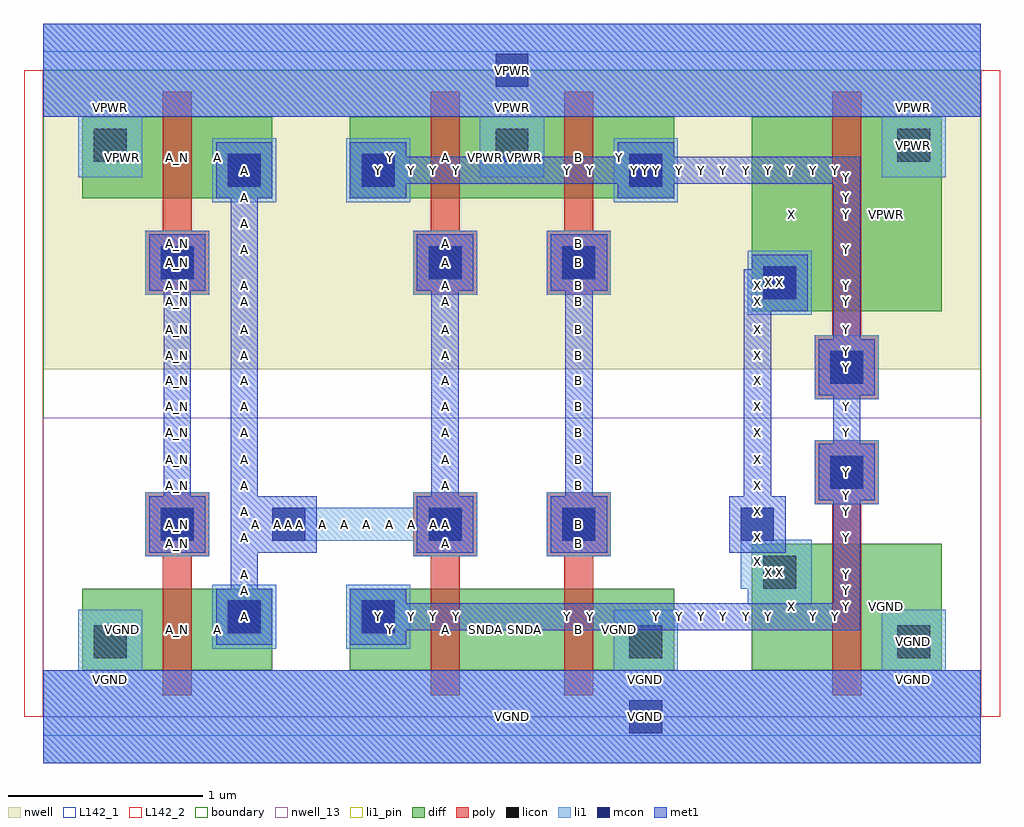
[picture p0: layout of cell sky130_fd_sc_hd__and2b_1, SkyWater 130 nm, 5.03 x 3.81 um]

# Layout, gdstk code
import gdstk
lib = gdstk.Library(unit=1e-6, precision=1e-09)
def R(c, l, rs):  # rectangles x0, y0, x1, y1
    for r in rs: c.add(gdstk.rectangle(r[:2], r[2:], *l))
def A(c, l, x, y, w, h, nx, ny, dx, dy):  # array of equal rectangles
    R(c, l, [(x+i*dx, y+j*dy, x+i*dx+w, y+j*dy+h) for i in range(nx) for j in range(ny)])
def P(c, l, *ps):  # polygons
    for p in ps: c.add(gdstk.Polygon(p, *l))
nwell_13 = (64, 13)
nwell = (64, 20)
diff = (65, 20)
poly = (66, 20)
licon = (66, 44)
li1_pin = (67, 16)
li1 = (67, 20)
mcon = (67, 44)
met1 = (68, 20)
L142_1 = (142, 1)
L142_2 = (142, 2)
boundary = (235, 4)

sky130_fd_sc_hd__and2b_1 = lib.new_cell('sky130_fd_sc_hd__and2b_1')
R(sky130_fd_sc_hd__and2b_1, nwell_13, [(0,0,4.83,1.54)])
R(sky130_fd_sc_hd__and2b_1, nwell, [(0,1.79,4.83,3.33)])
R(sky130_fd_sc_hd__and2b_1, diff, [(0.2,0.24,1.18,0.66), (0.2,0.24,0.615,0.66), (0.615,0.24,1.18,0.66), (1.58,0.24,3.25,0.66), (1.58,0.24,1.995,0.66), (1.995,0.24,2.685,0.66), (2.685,0.24,3.25,0.66), (3.65,0.24,4.63,0.89), (3.65,0.24,4.065,0.89), (4.065,0.24,4.63,0.89), (3.65,2.09,4.63,3.09), (3.65,2.09,4.065,3.09), (4.065,2.09,4.63,3.09), (0.2,2.67,1.18,3.09), (0.2,2.67,0.615,3.09), (0.615,2.67,1.18,3.09), (1.58,2.67,3.25,3.09), (1.58,2.67,1.995,3.09), (1.995,2.67,2.685,3.09), (2.685,2.67,3.25,3.09)])
P(sky130_fd_sc_hd__and2b_1, poly, [(2.685,0.11),(2.685,0.825),(2.595,0.825),(2.595,1.155),(2.925,1.155),(2.925,0.825),(2.835,0.825),(2.835,0.11)],
  [(2.595,2.175),(2.595,2.505),(2.685,2.505),(2.685,3.22),(2.835,3.22),(2.835,2.505),(2.925,2.505),(2.925,2.175)],
  [(4.065,0.11),(4.065,1.095),(3.975,1.095),(3.975,1.425),(4.305,1.425),(4.305,1.095),(4.215,1.095),(4.215,0.11)],
  [(3.975,1.635),(3.975,1.965),(4.065,1.965),(4.065,3.22),(4.215,3.22),(4.215,1.965),(4.305,1.965),(4.305,1.635)],
  [(0.615,0.11),(0.615,0.825),(0.525,0.825),(0.525,1.155),(0.855,1.155),(0.855,0.825),(0.765,0.825),(0.765,0.11)],
  [(0.525,2.175),(0.525,2.505),(0.615,2.505),(0.615,3.22),(0.765,3.22),(0.765,2.505),(0.855,2.505),(0.855,2.175)],
  [(1.995,0.11),(1.995,0.825),(1.905,0.825),(1.905,1.155),(2.235,1.155),(2.235,0.825),(2.145,0.825),(2.145,0.11)],
  [(1.905,2.175),(1.905,2.505),(1.995,2.505),(1.995,3.22),(2.145,3.22),(2.145,2.505),(2.235,2.505),(2.235,2.175)])
A(sky130_fd_sc_hd__and2b_1, licon, 0.26, 2.86, 0.17, 0.17, 3, 1, 2.07, 0)
R(sky130_fd_sc_hd__and2b_1, licon, [(0.26,0.3,0.43,0.47), (3.02,0.3,3.19,0.47), (4.4,0.3,4.57,0.47), (0.95,0.43,1.12,0.6), (1.64,0.43,1.81,0.6), (3.71,0.66,3.88,0.83), (0.605,0.905,0.775,1.075), (1.985,0.905,2.155,1.075), (2.675,0.905,2.845,1.075), (4.055,1.175,4.225,1.345), (4.055,1.715,4.225,1.885), (3.71,2.15,3.88,2.32), (0.605,2.255,0.775,2.425), (1.985,2.255,2.155,2.425), (2.675,2.255,2.845,2.425), (0.95,2.73,1.12,2.9), (1.64,2.73,1.81,2.9), (3.02,2.73,3.19,2.9)])
R(sky130_fd_sc_hd__and2b_1, li1_pin, [(0,-0.24,4.83,0.24), (0.525,0.825,0.855,1.155), (2.595,0.825,2.925,1.155), (0,3.09,4.83,3.57)])
P(sky130_fd_sc_hd__and2b_1, li1_pin, [(3.63,0.58),(3.63,0.66),(3.595,0.66),(3.595,1.075),(3.765,1.075),(3.765,0.91),(3.96,0.91),(3.96,0.58)])
R(sky130_fd_sc_hd__and2b_1, li1, [(0.87,0.35,1.2,0.68), (1.56,0.35,1.89,0.68), (0.525,0.825,0.855,1.155), (2.595,0.825,2.925,1.155), (3.975,1.095,4.305,1.425), (3.975,1.635,4.305,1.965), (3.63,2.07,3.96,2.4), (0.525,2.175,0.855,2.505), (1.905,2.175,2.235,2.505), (2.595,2.175,2.925,2.505), (0.87,2.65,1.2,2.98), (1.56,2.65,1.89,2.98), (2.94,2.65,3.27,2.98)])
P(sky130_fd_sc_hd__and2b_1, li1, [(0.18,2.78),(0.18,3.09),(0,3.09),(0,3.57),(4.83,3.57),(4.83,3.09),(4.65,3.09),(4.65,2.78),(4.32,2.78),(4.32,3.09),(2.58,3.09),(2.58,2.78),(2.25,2.78),(2.25,3.09),(0.51,3.09),(0.51,2.78)],
  [(0,-0.24),(0,0.24),(0.18,0.24),(0.18,0.55),(0.51,0.55),(0.51,0.24),(2.94,0.24),(2.94,0.55),(3.27,0.55),(3.27,0.24),(4.32,0.24),(4.32,0.55),(4.65,0.55),(4.65,0.24),(4.83,0.24),(4.83,-0.24)],
  [(1.905,0.825),(1.905,0.905),(1.18,0.905),(1.18,1.075),(1.905,1.075),(1.905,1.155),(2.235,1.155),(2.235,0.825)],
  [(3.63,0.58),(3.63,0.66),(3.595,0.66),(3.595,1.075),(3.765,1.075),(3.765,0.91),(3.96,0.91),(3.96,0.58)])
R(sky130_fd_sc_hd__and2b_1, mcon, [(3.02,-0.085,3.19,0.085), (0.95,0.43,1.12,0.6), (1.64,0.43,1.81,0.6), (0.605,0.905,0.775,1.075), (1.18,0.905,1.35,1.075), (1.985,0.905,2.155,1.075), (2.675,0.905,2.845,1.075), (3.595,0.905,3.765,1.075), (4.055,1.175,4.225,1.345), (4.055,1.715,4.225,1.885), (3.71,2.15,3.88,2.32), (0.605,2.255,0.775,2.425), (1.985,2.255,2.155,2.425), (2.675,2.255,2.845,2.425), (0.95,2.73,1.12,2.9), (1.64,2.73,1.81,2.9), (3.02,2.73,3.19,2.9), (2.33,3.245,2.5,3.415)])
R(sky130_fd_sc_hd__and2b_1, met1, [(0,-0.24,4.83,0.24), (1.105,0.845,1.12,0.92), (1.105,1.06,1.12,1.135), (0,3.09,4.83,3.57)])
P(sky130_fd_sc_hd__and2b_1, met1, [(2.615,0.845),(2.615,1.135),(2.69,1.135),(2.69,2.195),(2.615,2.195),(2.615,2.485),(2.905,2.485),(2.905,2.195),(2.83,2.195),(2.83,1.135),(2.905,1.135),(2.905,0.845)],
  [(1.58,0.37),(1.58,0.66),(1.87,0.66),(1.87,0.585),(4.07,0.585),(4.07,1.115),(3.995,1.115),(3.995,1.405),(4.07,1.405),(4.07,1.655),(3.995,1.655),(3.995,1.945),(4.07,1.945),(4.07,2.745),(3.25,2.745),(3.25,2.67),(2.96,2.67),(2.96,2.745),(1.87,2.745),(1.87,2.67),(1.58,2.67),(1.58,2.96),(1.87,2.96),(1.87,2.885),(2.96,2.885),(2.96,2.96),(3.25,2.96),(3.25,2.885),(4.21,2.885),(4.21,1.945),(4.285,1.945),(4.285,1.655),(4.21,1.655),(4.21,1.405),(4.285,1.405),(4.285,1.115),(4.21,1.115),(4.21,0.445),(1.87,0.445),(1.87,0.37)],
  [(0.545,0.845),(0.545,1.135),(0.62,1.135),(0.62,2.195),(0.545,2.195),(0.545,2.485),(0.835,2.485),(0.835,2.195),(0.76,2.195),(0.76,1.135),(0.835,1.135),(0.835,0.845)],
  [(1.925,0.845),(1.925,1.135),(2,1.135),(2,2.195),(1.925,2.195),(1.925,2.485),(2.215,2.485),(2.215,2.195),(2.14,2.195),(2.14,1.135),(2.215,1.135),(2.215,0.845)],
  [(0.89,0.37),(0.89,0.66),(0.965,0.66),(0.965,2.67),(0.89,2.67),(0.89,2.96),(1.18,2.96),(1.18,2.67),(1.105,2.67),(1.105,1.06),(1.12,1.06),(1.12,1.135),(1.41,1.135),(1.41,0.845),(1.12,0.845),(1.12,0.92),(1.105,0.92),(1.105,0.66),(1.18,0.66),(1.18,0.37)],
  [(3.535,0.845),(3.535,1.135),(3.61,1.135),(3.61,2.305),(3.65,2.305),(3.65,2.38),(3.94,2.38),(3.94,2.09),(3.75,2.09),(3.75,1.135),(3.825,1.135),(3.825,0.845)])
R(sky130_fd_sc_hd__and2b_1, L142_1, [(0,-0.1,4.83,0), (0,3.33,4.83,3.43)])
R(sky130_fd_sc_hd__and2b_1, L142_2, [(-0.1,0,0,3.33), (4.83,0,4.93,3.33)])
R(sky130_fd_sc_hd__and2b_1, boundary, [(0,0,4.83,3.33)])
sky130_fd_sc_hd__and2b_1.add(gdstk.Label('SNDA', (2.477,0.45), layer=65, texttype=20))
sky130_fd_sc_hd__and2b_1.add(gdstk.Label('VGND', (2.967,0.45), layer=65, texttype=20))
sky130_fd_sc_hd__and2b_1.add(gdstk.Label('VGND', (0.407,0.45), layer=65, texttype=20))
sky130_fd_sc_hd__and2b_1.add(gdstk.Label('A', (0.897,0.45), layer=65, texttype=20))
sky130_fd_sc_hd__and2b_1.add(gdstk.Label('Y', (1.787,0.45), layer=65, texttype=20))
sky130_fd_sc_hd__and2b_1.add(gdstk.Label('SNDA', (2.277,0.45), layer=65, texttype=20))
sky130_fd_sc_hd__and2b_1.add(gdstk.Label('X', (3.857,0.565), layer=65, texttype=20))
sky130_fd_sc_hd__and2b_1.add(gdstk.Label('VGND', (4.347,0.565), layer=65, texttype=20))
sky130_fd_sc_hd__and2b_1.add(gdstk.Label('SNDA', (2.477,0.45), layer=65, texttype=20))
sky130_fd_sc_hd__and2b_1.add(gdstk.Label('VGND', (2.967,0.45), layer=65, texttype=20))
sky130_fd_sc_hd__and2b_1.add(gdstk.Label('VGND', (0.407,0.45), layer=65, texttype=20))
sky130_fd_sc_hd__and2b_1.add(gdstk.Label('A', (0.897,0.45), layer=65, texttype=20))
sky130_fd_sc_hd__and2b_1.add(gdstk.Label('Y', (1.787,0.45), layer=65, texttype=20))
sky130_fd_sc_hd__and2b_1.add(gdstk.Label('SNDA', (2.277,0.45), layer=65, texttype=20))
sky130_fd_sc_hd__and2b_1.add(gdstk.Label('X', (3.857,0.565), layer=65, texttype=20))
sky130_fd_sc_hd__and2b_1.add(gdstk.Label('VGND', (4.347,0.565), layer=65, texttype=20))
sky130_fd_sc_hd__and2b_1.add(gdstk.Label('VGND', (3.105,0.385), layer=65, texttype=20))
sky130_fd_sc_hd__and2b_1.add(gdstk.Label('VGND', (4.485,0.385), layer=65, texttype=20))
sky130_fd_sc_hd__and2b_1.add(gdstk.Label('VGND', (0.345,0.385), layer=65, texttype=20))
sky130_fd_sc_hd__and2b_1.add(gdstk.Label('A', (1.035,0.515), layer=65, texttype=20))
sky130_fd_sc_hd__and2b_1.add(gdstk.Label('Y', (1.725,0.515), layer=65, texttype=20))
sky130_fd_sc_hd__and2b_1.add(gdstk.Label('X', (3.795,0.745), layer=65, texttype=20))
sky130_fd_sc_hd__and2b_1.add(gdstk.Label('VPWR', (2.477,2.88), layer=65, texttype=20))
sky130_fd_sc_hd__and2b_1.add(gdstk.Label('Y', (2.967,2.88), layer=65, texttype=20))
sky130_fd_sc_hd__and2b_1.add(gdstk.Label('Y', (1.787,2.88), layer=65, texttype=20))
sky130_fd_sc_hd__and2b_1.add(gdstk.Label('VPWR', (2.277,2.88), layer=65, texttype=20))
sky130_fd_sc_hd__and2b_1.add(gdstk.Label('X', (3.857,2.59), layer=65, texttype=20))
sky130_fd_sc_hd__and2b_1.add(gdstk.Label('VPWR', (4.347,2.59), layer=65, texttype=20))
sky130_fd_sc_hd__and2b_1.add(gdstk.Label('VPWR', (0.407,2.88), layer=65, texttype=20))
sky130_fd_sc_hd__and2b_1.add(gdstk.Label('A', (0.897,2.88), layer=65, texttype=20))
sky130_fd_sc_hd__and2b_1.add(gdstk.Label('VPWR', (2.477,2.88), layer=65, texttype=20))
sky130_fd_sc_hd__and2b_1.add(gdstk.Label('Y', (2.967,2.88), layer=65, texttype=20))
sky130_fd_sc_hd__and2b_1.add(gdstk.Label('Y', (1.787,2.88), layer=65, texttype=20))
sky130_fd_sc_hd__and2b_1.add(gdstk.Label('VPWR', (2.277,2.88), layer=65, texttype=20))
sky130_fd_sc_hd__and2b_1.add(gdstk.Label('X', (3.857,2.59), layer=65, texttype=20))
sky130_fd_sc_hd__and2b_1.add(gdstk.Label('VPWR', (4.347,2.59), layer=65, texttype=20))
sky130_fd_sc_hd__and2b_1.add(gdstk.Label('VPWR', (0.407,2.88), layer=65, texttype=20))
sky130_fd_sc_hd__and2b_1.add(gdstk.Label('A', (0.897,2.88), layer=65, texttype=20))
sky130_fd_sc_hd__and2b_1.add(gdstk.Label('A', (1.035,2.815), layer=65, texttype=20))
sky130_fd_sc_hd__and2b_1.add(gdstk.Label('Y', (3.105,2.815), layer=65, texttype=20))
sky130_fd_sc_hd__and2b_1.add(gdstk.Label('Y', (1.725,2.815), layer=65, texttype=20))
sky130_fd_sc_hd__and2b_1.add(gdstk.Label('X', (3.795,2.235), layer=65, texttype=20))
sky130_fd_sc_hd__and2b_1.add(gdstk.Label('VPWR', (2.415,2.945), layer=65, texttype=20))
sky130_fd_sc_hd__and2b_1.add(gdstk.Label('VPWR', (4.485,2.945), layer=65, texttype=20))
sky130_fd_sc_hd__and2b_1.add(gdstk.Label('VPWR', (0.345,2.945), layer=65, texttype=20))
sky130_fd_sc_hd__and2b_1.add(gdstk.Label('B', (2.76,0.45), layer=66, texttype=20))
sky130_fd_sc_hd__and2b_1.add(gdstk.Label('A_N', (0.69,0.45), layer=66, texttype=20))
sky130_fd_sc_hd__and2b_1.add(gdstk.Label('A', (2.07,0.45), layer=66, texttype=20))
sky130_fd_sc_hd__and2b_1.add(gdstk.Label('Y', (4.14,0.565), layer=66, texttype=20))
sky130_fd_sc_hd__and2b_1.add(gdstk.Label('B', (2.76,2.88), layer=66, texttype=20))
sky130_fd_sc_hd__and2b_1.add(gdstk.Label('A', (2.07,2.88), layer=66, texttype=20))
sky130_fd_sc_hd__and2b_1.add(gdstk.Label('Y', (4.14,2.59), layer=66, texttype=20))
sky130_fd_sc_hd__and2b_1.add(gdstk.Label('A_N', (0.69,2.88), layer=66, texttype=20))
sky130_fd_sc_hd__and2b_1.add(gdstk.Label('B', (2.76,0.45), layer=66, texttype=20))
sky130_fd_sc_hd__and2b_1.add(gdstk.Label('A_N', (0.69,0.45), layer=66, texttype=20))
sky130_fd_sc_hd__and2b_1.add(gdstk.Label('A', (2.07,0.45), layer=66, texttype=20))
sky130_fd_sc_hd__and2b_1.add(gdstk.Label('Y', (4.14,0.565), layer=66, texttype=20))
sky130_fd_sc_hd__and2b_1.add(gdstk.Label('B', (2.76,2.88), layer=66, texttype=20))
sky130_fd_sc_hd__and2b_1.add(gdstk.Label('A', (2.07,2.88), layer=66, texttype=20))
sky130_fd_sc_hd__and2b_1.add(gdstk.Label('Y', (4.14,2.59), layer=66, texttype=20))
sky130_fd_sc_hd__and2b_1.add(gdstk.Label('A_N', (0.69,2.88), layer=66, texttype=20))
sky130_fd_sc_hd__and2b_1.add(gdstk.Label('A', (2.07,0.89), layer=66, texttype=20))
sky130_fd_sc_hd__and2b_1.add(gdstk.Label('A', (2.07,2.44), layer=66, texttype=20))
sky130_fd_sc_hd__and2b_1.add(gdstk.Label('Y', (4.14,1.14), layer=66, texttype=20))
sky130_fd_sc_hd__and2b_1.add(gdstk.Label('Y', (4.14,1.88), layer=66, texttype=20))
sky130_fd_sc_hd__and2b_1.add(gdstk.Label('B', (2.76,0.89), layer=66, texttype=20))
sky130_fd_sc_hd__and2b_1.add(gdstk.Label('B', (2.76,2.44), layer=66, texttype=20))
sky130_fd_sc_hd__and2b_1.add(gdstk.Label('A_N', (0.69,0.89), layer=66, texttype=20))
sky130_fd_sc_hd__and2b_1.add(gdstk.Label('A_N', (0.69,2.44), layer=66, texttype=20))
sky130_fd_sc_hd__and2b_1.add(gdstk.Label('A', (2.07,0.99), layer=66, texttype=20))
sky130_fd_sc_hd__and2b_1.add(gdstk.Label('A', (2.07,2.34), layer=66, texttype=20))
sky130_fd_sc_hd__and2b_1.add(gdstk.Label('Y', (4.14,1.26), layer=66, texttype=20))
sky130_fd_sc_hd__and2b_1.add(gdstk.Label('Y', (4.14,1.8), layer=66, texttype=20))
sky130_fd_sc_hd__and2b_1.add(gdstk.Label('B', (2.76,0.99), layer=66, texttype=20))
sky130_fd_sc_hd__and2b_1.add(gdstk.Label('B', (2.76,2.34), layer=66, texttype=20))
sky130_fd_sc_hd__and2b_1.add(gdstk.Label('A_N', (0.69,0.99), layer=66, texttype=20))
sky130_fd_sc_hd__and2b_1.add(gdstk.Label('A_N', (0.69,2.34), layer=66, texttype=20))
sky130_fd_sc_hd__and2b_1.add(gdstk.Label('A', (1.035,2.815), layer=66, texttype=44))
sky130_fd_sc_hd__and2b_1.add(gdstk.Label('Y', (3.105,2.815), layer=66, texttype=44))
sky130_fd_sc_hd__and2b_1.add(gdstk.Label('Y', (1.725,2.815), layer=66, texttype=44))
sky130_fd_sc_hd__and2b_1.add(gdstk.Label('X', (3.795,2.235), layer=66, texttype=44))
sky130_fd_sc_hd__and2b_1.add(gdstk.Label('VPWR', (2.415,2.945), layer=66, texttype=44))
sky130_fd_sc_hd__and2b_1.add(gdstk.Label('VPWR', (4.485,2.945), layer=66, texttype=44))
sky130_fd_sc_hd__and2b_1.add(gdstk.Label('VPWR', (0.345,2.945), layer=66, texttype=44))
sky130_fd_sc_hd__and2b_1.add(gdstk.Label('VGND', (3.105,0.385), layer=66, texttype=44))
sky130_fd_sc_hd__and2b_1.add(gdstk.Label('VGND', (4.485,0.385), layer=66, texttype=44))
sky130_fd_sc_hd__and2b_1.add(gdstk.Label('VGND', (0.345,0.385), layer=66, texttype=44))
sky130_fd_sc_hd__and2b_1.add(gdstk.Label('A', (1.035,0.515), layer=66, texttype=44))
sky130_fd_sc_hd__and2b_1.add(gdstk.Label('Y', (1.725,0.515), layer=66, texttype=44))
sky130_fd_sc_hd__and2b_1.add(gdstk.Label('X', (3.795,0.745), layer=66, texttype=44))
sky130_fd_sc_hd__and2b_1.add(gdstk.Label('A', (2.07,0.99), layer=66, texttype=44))
sky130_fd_sc_hd__and2b_1.add(gdstk.Label('A', (2.07,2.34), layer=66, texttype=44))
sky130_fd_sc_hd__and2b_1.add(gdstk.Label('Y', (4.14,1.26), layer=66, texttype=44))
sky130_fd_sc_hd__and2b_1.add(gdstk.Label('Y', (4.14,1.8), layer=66, texttype=44))
sky130_fd_sc_hd__and2b_1.add(gdstk.Label('B', (2.76,0.99), layer=66, texttype=44))
sky130_fd_sc_hd__and2b_1.add(gdstk.Label('B', (2.76,2.34), layer=66, texttype=44))
sky130_fd_sc_hd__and2b_1.add(gdstk.Label('A_N', (0.69,0.99), layer=66, texttype=44))
sky130_fd_sc_hd__and2b_1.add(gdstk.Label('A_N', (0.69,2.34), layer=66, texttype=44))
sky130_fd_sc_hd__and2b_1.add(gdstk.Label('VPWR', (2.415,3.33), layer=67, texttype=20))
sky130_fd_sc_hd__and2b_1.add(gdstk.Label('VGND', (2.415,0), layer=67, texttype=20))
sky130_fd_sc_hd__and2b_1.add(gdstk.Label('VPWR', (2.415,3.33), layer=67, texttype=20))
sky130_fd_sc_hd__and2b_1.add(gdstk.Label('VGND', (2.415,0), layer=67, texttype=20))
sky130_fd_sc_hd__and2b_1.add(gdstk.Label('VGND', (3.105,0.192), layer=67, texttype=20))
sky130_fd_sc_hd__and2b_1.add(gdstk.Label('VGND', (4.485,0.192), layer=67, texttype=20))
sky130_fd_sc_hd__and2b_1.add(gdstk.Label('VGND', (0.345,0.192), layer=67, texttype=20))
sky130_fd_sc_hd__and2b_1.add(gdstk.Label('A', (1.322,0.99), layer=67, texttype=20))
sky130_fd_sc_hd__and2b_1.add(gdstk.Label('A', (1.437,0.99), layer=67, texttype=20))
sky130_fd_sc_hd__and2b_1.add(gdstk.Label('A', (1.552,0.99), layer=67, texttype=20))
sky130_fd_sc_hd__and2b_1.add(gdstk.Label('A', (1.667,0.99), layer=67, texttype=20))
sky130_fd_sc_hd__and2b_1.add(gdstk.Label('A', (1.782,0.99), layer=67, texttype=20))
sky130_fd_sc_hd__and2b_1.add(gdstk.Label('A', (1.897,0.99), layer=67, texttype=20))
sky130_fd_sc_hd__and2b_1.add(gdstk.Label('A', (2.012,0.99), layer=67, texttype=20))
sky130_fd_sc_hd__and2b_1.add(gdstk.Label('X', (3.737,0.745), layer=67, texttype=20))
sky130_fd_sc_hd__and2b_1.add(gdstk.Label('X', (3.68,0.8), layer=67, texttype=20))
sky130_fd_sc_hd__and2b_1.add(gdstk.Label('X', (3.68,0.922), layer=67, texttype=20))
sky130_fd_sc_hd__and2b_1.add(gdstk.Label('VPWR', (2.415,3.137), layer=67, texttype=20))
sky130_fd_sc_hd__and2b_1.add(gdstk.Label('VPWR', (4.485,3.137), layer=67, texttype=20))
sky130_fd_sc_hd__and2b_1.add(gdstk.Label('VPWR', (0.345,3.137), layer=67, texttype=20))
sky130_fd_sc_hd__and2b_1.add(gdstk.Label('VGND', (3.105,0.385), layer=67, texttype=20))
sky130_fd_sc_hd__and2b_1.add(gdstk.Label('VGND', (3.105,0), layer=67, texttype=20))
sky130_fd_sc_hd__and2b_1.add(gdstk.Label('VGND', (4.485,0.385), layer=67, texttype=20))
sky130_fd_sc_hd__and2b_1.add(gdstk.Label('VGND', (0.345,0.385), layer=67, texttype=20))
sky130_fd_sc_hd__and2b_1.add(gdstk.Label('A', (1.035,0.515), layer=67, texttype=20))
sky130_fd_sc_hd__and2b_1.add(gdstk.Label('A', (1.035,0.515), layer=67, texttype=20))
sky130_fd_sc_hd__and2b_1.add(gdstk.Label('A', (1.035,2.815), layer=67, texttype=20))
sky130_fd_sc_hd__and2b_1.add(gdstk.Label('A', (1.035,2.815), layer=67, texttype=20))
sky130_fd_sc_hd__and2b_1.add(gdstk.Label('A', (1.265,0.99), layer=67, texttype=20))
sky130_fd_sc_hd__and2b_1.add(gdstk.Label('A', (2.07,0.99), layer=67, texttype=20))
sky130_fd_sc_hd__and2b_1.add(gdstk.Label('A', (2.07,0.99), layer=67, texttype=20))
sky130_fd_sc_hd__and2b_1.add(gdstk.Label('A', (2.07,2.34), layer=67, texttype=20))
sky130_fd_sc_hd__and2b_1.add(gdstk.Label('A', (2.07,2.34), layer=67, texttype=20))
sky130_fd_sc_hd__and2b_1.add(gdstk.Label('Y', (1.725,0.515), layer=67, texttype=20))
sky130_fd_sc_hd__and2b_1.add(gdstk.Label('Y', (1.725,0.515), layer=67, texttype=20))
sky130_fd_sc_hd__and2b_1.add(gdstk.Label('Y', (4.14,1.26), layer=67, texttype=20))
sky130_fd_sc_hd__and2b_1.add(gdstk.Label('Y', (4.14,1.26), layer=67, texttype=20))
sky130_fd_sc_hd__and2b_1.add(gdstk.Label('Y', (4.14,1.8), layer=67, texttype=20))
sky130_fd_sc_hd__and2b_1.add(gdstk.Label('Y', (4.14,1.8), layer=67, texttype=20))
sky130_fd_sc_hd__and2b_1.add(gdstk.Label('Y', (3.105,2.815), layer=67, texttype=20))
sky130_fd_sc_hd__and2b_1.add(gdstk.Label('Y', (3.105,2.815), layer=67, texttype=20))
sky130_fd_sc_hd__and2b_1.add(gdstk.Label('Y', (1.725,2.815), layer=67, texttype=20))
sky130_fd_sc_hd__and2b_1.add(gdstk.Label('Y', (1.725,2.815), layer=67, texttype=20))
sky130_fd_sc_hd__and2b_1.add(gdstk.Label('X', (3.795,0.745), layer=67, texttype=20))
sky130_fd_sc_hd__and2b_1.add(gdstk.Label('X', (3.68,0.99), layer=67, texttype=20))
sky130_fd_sc_hd__and2b_1.add(gdstk.Label('X', (3.795,2.235), layer=67, texttype=20))
sky130_fd_sc_hd__and2b_1.add(gdstk.Label('X', (3.795,2.235), layer=67, texttype=20))
sky130_fd_sc_hd__and2b_1.add(gdstk.Label('VPWR', (2.415,2.945), layer=67, texttype=20))
sky130_fd_sc_hd__and2b_1.add(gdstk.Label('VPWR', (2.415,3.33), layer=67, texttype=20))
sky130_fd_sc_hd__and2b_1.add(gdstk.Label('VPWR', (4.485,2.945), layer=67, texttype=20))
sky130_fd_sc_hd__and2b_1.add(gdstk.Label('VPWR', (0.345,2.945), layer=67, texttype=20))
sky130_fd_sc_hd__and2b_1.add(gdstk.Label('B', (2.76,0.99), layer=67, texttype=20))
sky130_fd_sc_hd__and2b_1.add(gdstk.Label('B', (2.76,0.99), layer=67, texttype=20))
sky130_fd_sc_hd__and2b_1.add(gdstk.Label('B', (2.76,2.34), layer=67, texttype=20))
sky130_fd_sc_hd__and2b_1.add(gdstk.Label('B', (2.76,2.34), layer=67, texttype=20))
sky130_fd_sc_hd__and2b_1.add(gdstk.Label('A_N', (0.69,0.99), layer=67, texttype=20))
sky130_fd_sc_hd__and2b_1.add(gdstk.Label('A_N', (0.69,0.99), layer=67, texttype=20))
sky130_fd_sc_hd__and2b_1.add(gdstk.Label('A_N', (0.69,2.34), layer=67, texttype=20))
sky130_fd_sc_hd__and2b_1.add(gdstk.Label('A_N', (0.69,2.34), layer=67, texttype=20))
sky130_fd_sc_hd__and2b_1.add(gdstk.Label('X', (3.68,0.99), layer=67, texttype=5))
sky130_fd_sc_hd__and2b_1.add(gdstk.Label('B', (2.76,0.99), layer=67, texttype=5))
sky130_fd_sc_hd__and2b_1.add(gdstk.Label('A_N', (0.69,0.99), layer=67, texttype=5))
sky130_fd_sc_hd__and2b_1.add(gdstk.Label('VGND', (2.415,0), layer=67, texttype=5))
sky130_fd_sc_hd__and2b_1.add(gdstk.Label('VPWR', (2.415,3.33), layer=67, texttype=5))
sky130_fd_sc_hd__and2b_1.add(gdstk.Label('VGND', (3.105,0), layer=67, texttype=44))
sky130_fd_sc_hd__and2b_1.add(gdstk.Label('A', (1.035,0.515), layer=67, texttype=44))
sky130_fd_sc_hd__and2b_1.add(gdstk.Label('A', (1.035,2.815), layer=67, texttype=44))
sky130_fd_sc_hd__and2b_1.add(gdstk.Label('A', (1.265,0.99), layer=67, texttype=44))
sky130_fd_sc_hd__and2b_1.add(gdstk.Label('A', (2.07,0.99), layer=67, texttype=44))
sky130_fd_sc_hd__and2b_1.add(gdstk.Label('A', (2.07,2.34), layer=67, texttype=44))
sky130_fd_sc_hd__and2b_1.add(gdstk.Label('Y', (1.725,0.515), layer=67, texttype=44))
sky130_fd_sc_hd__and2b_1.add(gdstk.Label('Y', (4.14,1.26), layer=67, texttype=44))
sky130_fd_sc_hd__and2b_1.add(gdstk.Label('Y', (4.14,1.8), layer=67, texttype=44))
sky130_fd_sc_hd__and2b_1.add(gdstk.Label('Y', (3.105,2.815), layer=67, texttype=44))
sky130_fd_sc_hd__and2b_1.add(gdstk.Label('Y', (1.725,2.815), layer=67, texttype=44))
sky130_fd_sc_hd__and2b_1.add(gdstk.Label('X', (3.68,0.99), layer=67, texttype=44))
sky130_fd_sc_hd__and2b_1.add(gdstk.Label('X', (3.795,2.235), layer=67, texttype=44))
sky130_fd_sc_hd__and2b_1.add(gdstk.Label('VPWR', (2.415,3.33), layer=67, texttype=44))
sky130_fd_sc_hd__and2b_1.add(gdstk.Label('B', (2.76,0.99), layer=67, texttype=44))
sky130_fd_sc_hd__and2b_1.add(gdstk.Label('B', (2.76,2.34), layer=67, texttype=44))
sky130_fd_sc_hd__and2b_1.add(gdstk.Label('A_N', (0.69,0.99), layer=67, texttype=44))
sky130_fd_sc_hd__and2b_1.add(gdstk.Label('A_N', (0.69,2.34), layer=67, texttype=44))
sky130_fd_sc_hd__and2b_1.add(gdstk.Label('Y', (4.14,1.732), layer=68, texttype=20))
sky130_fd_sc_hd__and2b_1.add(gdstk.Label('Y', (2.472,2.815), layer=68, texttype=20))
sky130_fd_sc_hd__and2b_1.add(gdstk.Label('X', (3.68,1.732), layer=68, texttype=20))
sky130_fd_sc_hd__and2b_1.add(gdstk.Label('B', (2.76,1.732), layer=68, texttype=20))
sky130_fd_sc_hd__and2b_1.add(gdstk.Label('Y', (4.14,2.78), layer=68, texttype=20))
sky130_fd_sc_hd__and2b_1.add(gdstk.Label('Y', (4.082,2.815), layer=68, texttype=20))
sky130_fd_sc_hd__and2b_1.add(gdstk.Label('Y', (3.967,2.815), layer=68, texttype=20))
sky130_fd_sc_hd__and2b_1.add(gdstk.Label('Y', (3.852,2.815), layer=68, texttype=20))
sky130_fd_sc_hd__and2b_1.add(gdstk.Label('Y', (3.737,2.815), layer=68, texttype=20))
sky130_fd_sc_hd__and2b_1.add(gdstk.Label('Y', (3.622,2.815), layer=68, texttype=20))
sky130_fd_sc_hd__and2b_1.add(gdstk.Label('Y', (3.507,2.815), layer=68, texttype=20))
sky130_fd_sc_hd__and2b_1.add(gdstk.Label('Y', (3.392,2.815), layer=68, texttype=20))
sky130_fd_sc_hd__and2b_1.add(gdstk.Label('Y', (3.277,2.815), layer=68, texttype=20))
sky130_fd_sc_hd__and2b_1.add(gdstk.Label('Y', (3.162,2.815), layer=68, texttype=20))
sky130_fd_sc_hd__and2b_1.add(gdstk.Label('Y', (3.047,2.815), layer=68, texttype=20))
sky130_fd_sc_hd__and2b_1.add(gdstk.Label('Y', (2.932,2.815), layer=68, texttype=20))
sky130_fd_sc_hd__and2b_1.add(gdstk.Label('Y', (2.817,2.815), layer=68, texttype=20))
sky130_fd_sc_hd__and2b_1.add(gdstk.Label('Y', (2.702,2.815), layer=68, texttype=20))
sky130_fd_sc_hd__and2b_1.add(gdstk.Label('Y', (2.587,2.815), layer=68, texttype=20))
sky130_fd_sc_hd__and2b_1.add(gdstk.Label('Y', (4.14,1.862), layer=68, texttype=20))
sky130_fd_sc_hd__and2b_1.add(gdstk.Label('Y', (4.14,1.997), layer=68, texttype=20))
sky130_fd_sc_hd__and2b_1.add(gdstk.Label('Y', (4.14,2.137), layer=68, texttype=20))
sky130_fd_sc_hd__and2b_1.add(gdstk.Label('Y', (4.14,2.22), layer=68, texttype=20))
sky130_fd_sc_hd__and2b_1.add(gdstk.Label('X', (3.68,1.862), layer=68, texttype=20))
sky130_fd_sc_hd__and2b_1.add(gdstk.Label('X', (3.68,1.997), layer=68, texttype=20))
sky130_fd_sc_hd__and2b_1.add(gdstk.Label('X', (3.68,2.137), layer=68, texttype=20))
sky130_fd_sc_hd__and2b_1.add(gdstk.Label('X', (3.68,2.22), layer=68, texttype=20))
sky130_fd_sc_hd__and2b_1.add(gdstk.Label('X', (3.737,2.235), layer=68, texttype=20))
sky130_fd_sc_hd__and2b_1.add(gdstk.Label('Y', (4.14,2.287), layer=68, texttype=20))
sky130_fd_sc_hd__and2b_1.add(gdstk.Label('Y', (4.14,2.407), layer=68, texttype=20))
sky130_fd_sc_hd__and2b_1.add(gdstk.Label('B', (2.76,1.862), layer=68, texttype=20))
sky130_fd_sc_hd__and2b_1.add(gdstk.Label('B', (2.76,1.997), layer=68, texttype=20))
sky130_fd_sc_hd__and2b_1.add(gdstk.Label('B', (2.76,2.137), layer=68, texttype=20))
sky130_fd_sc_hd__and2b_1.add(gdstk.Label('B', (2.76,2.22), layer=68, texttype=20))
sky130_fd_sc_hd__and2b_1.add(gdstk.Label('B', (2.76,2.287), layer=68, texttype=20))
sky130_fd_sc_hd__and2b_1.add(gdstk.Label('Y', (4.14,2.542), layer=68, texttype=20))
sky130_fd_sc_hd__and2b_1.add(gdstk.Label('Y', (4.14,2.677), layer=68, texttype=20))
sky130_fd_sc_hd__and2b_1.add(gdstk.Label('Y', (4.14,1.8), layer=68, texttype=20))
sky130_fd_sc_hd__and2b_1.add(gdstk.Label('Y', (3.105,2.815), layer=68, texttype=20))
sky130_fd_sc_hd__and2b_1.add(gdstk.Label('X', (3.795,2.235), layer=68, texttype=20))
sky130_fd_sc_hd__and2b_1.add(gdstk.Label('B', (2.76,2.34), layer=68, texttype=20))
sky130_fd_sc_hd__and2b_1.add(gdstk.Label('VPWR', (2.415,3.33), layer=68, texttype=20))
sky130_fd_sc_hd__and2b_1.add(gdstk.Label('Y', (2.357,2.815), layer=68, texttype=20))
sky130_fd_sc_hd__and2b_1.add(gdstk.Label('Y', (2.012,2.815), layer=68, texttype=20))
sky130_fd_sc_hd__and2b_1.add(gdstk.Label('Y', (1.897,2.815), layer=68, texttype=20))
sky130_fd_sc_hd__and2b_1.add(gdstk.Label('Y', (1.782,2.815), layer=68, texttype=20))
sky130_fd_sc_hd__and2b_1.add(gdstk.Label('A', (1.035,2.22), layer=68, texttype=20))
sky130_fd_sc_hd__and2b_1.add(gdstk.Label('A', (1.035,2.287), layer=68, texttype=20))
sky130_fd_sc_hd__and2b_1.add(gdstk.Label('A', (1.035,2.407), layer=68, texttype=20))
sky130_fd_sc_hd__and2b_1.add(gdstk.Label('A', (1.035,2.542), layer=68, texttype=20))
sky130_fd_sc_hd__and2b_1.add(gdstk.Label('A', (1.035,2.677), layer=68, texttype=20))
sky130_fd_sc_hd__and2b_1.add(gdstk.Label('A', (1.035,2.78), layer=68, texttype=20))
sky130_fd_sc_hd__and2b_1.add(gdstk.Label('A', (1.035,1.862), layer=68, texttype=20))
sky130_fd_sc_hd__and2b_1.add(gdstk.Label('A', (1.035,1.997), layer=68, texttype=20))
sky130_fd_sc_hd__and2b_1.add(gdstk.Label('A', (2.07,1.862), layer=68, texttype=20))
sky130_fd_sc_hd__and2b_1.add(gdstk.Label('A', (2.07,1.997), layer=68, texttype=20))
sky130_fd_sc_hd__and2b_1.add(gdstk.Label('A', (2.07,2.137), layer=68, texttype=20))
sky130_fd_sc_hd__and2b_1.add(gdstk.Label('A', (2.07,2.22), layer=68, texttype=20))
sky130_fd_sc_hd__and2b_1.add(gdstk.Label('A', (2.07,2.287), layer=68, texttype=20))
sky130_fd_sc_hd__and2b_1.add(gdstk.Label('A', (1.035,2.137), layer=68, texttype=20))
sky130_fd_sc_hd__and2b_1.add(gdstk.Label('Y', (2.242,2.815), layer=68, texttype=20))
sky130_fd_sc_hd__and2b_1.add(gdstk.Label('Y', (2.127,2.815), layer=68, texttype=20))
sky130_fd_sc_hd__and2b_1.add(gdstk.Label('A_N', (0.69,1.862), layer=68, texttype=20))
sky130_fd_sc_hd__and2b_1.add(gdstk.Label('A_N', (0.69,1.997), layer=68, texttype=20))
sky130_fd_sc_hd__and2b_1.add(gdstk.Label('A_N', (0.69,2.137), layer=68, texttype=20))
sky130_fd_sc_hd__and2b_1.add(gdstk.Label('A_N', (0.69,2.22), layer=68, texttype=20))
sky130_fd_sc_hd__and2b_1.add(gdstk.Label('A_N', (0.69,2.287), layer=68, texttype=20))
sky130_fd_sc_hd__and2b_1.add(gdstk.Label('A', (1.035,2.815), layer=68, texttype=20))
sky130_fd_sc_hd__and2b_1.add(gdstk.Label('A', (2.07,2.34), layer=68, texttype=20))
sky130_fd_sc_hd__and2b_1.add(gdstk.Label('A', (1.035,1.732), layer=68, texttype=20))
sky130_fd_sc_hd__and2b_1.add(gdstk.Label('A', (2.07,1.732), layer=68, texttype=20))
sky130_fd_sc_hd__and2b_1.add(gdstk.Label('Y', (1.725,2.815), layer=68, texttype=20))
sky130_fd_sc_hd__and2b_1.add(gdstk.Label('A_N', (0.69,1.732), layer=68, texttype=20))
sky130_fd_sc_hd__and2b_1.add(gdstk.Label('VPWR', (2.415,3.33), layer=68, texttype=20))
sky130_fd_sc_hd__and2b_1.add(gdstk.Label('VPWR', (2.415,3.33), layer=68, texttype=20))
sky130_fd_sc_hd__and2b_1.add(gdstk.Label('A_N', (0.69,2.34), layer=68, texttype=20))
sky130_fd_sc_hd__and2b_1.add(gdstk.Label('Y', (2.127,0.515), layer=68, texttype=20))
sky130_fd_sc_hd__and2b_1.add(gdstk.Label('Y', (2.242,0.515), layer=68, texttype=20))
sky130_fd_sc_hd__and2b_1.add(gdstk.Label('A', (1.035,1.327), layer=68, texttype=20))
sky130_fd_sc_hd__and2b_1.add(gdstk.Label('A', (1.035,1.462), layer=68, texttype=20))
sky130_fd_sc_hd__and2b_1.add(gdstk.Label('A', (1.035,0.55), layer=68, texttype=20))
sky130_fd_sc_hd__and2b_1.add(gdstk.Label('A', (1.207,0.99), layer=68, texttype=20))
sky130_fd_sc_hd__and2b_1.add(gdstk.Label('A', (2.07,1.057), layer=68, texttype=20))
sky130_fd_sc_hd__and2b_1.add(gdstk.Label('A', (2.07,1.192), layer=68, texttype=20))
sky130_fd_sc_hd__and2b_1.add(gdstk.Label('A', (2.07,1.327), layer=68, texttype=20))
sky130_fd_sc_hd__and2b_1.add(gdstk.Label('A', (2.07,1.462), layer=68, texttype=20))
sky130_fd_sc_hd__and2b_1.add(gdstk.Label('A_N', (0.69,1.057), layer=68, texttype=20))
sky130_fd_sc_hd__and2b_1.add(gdstk.Label('A_N', (0.69,1.192), layer=68, texttype=20))
sky130_fd_sc_hd__and2b_1.add(gdstk.Label('A_N', (0.69,1.327), layer=68, texttype=20))
sky130_fd_sc_hd__and2b_1.add(gdstk.Label('A_N', (0.69,1.462), layer=68, texttype=20))
sky130_fd_sc_hd__and2b_1.add(gdstk.Label('A', (1.035,0.652), layer=68, texttype=20))
sky130_fd_sc_hd__and2b_1.add(gdstk.Label('A', (1.035,0.732), layer=68, texttype=20))
sky130_fd_sc_hd__and2b_1.add(gdstk.Label('A', (1.035,0.8), layer=68, texttype=20))
sky130_fd_sc_hd__and2b_1.add(gdstk.Label('A', (1.035,0.922), layer=68, texttype=20))
sky130_fd_sc_hd__and2b_1.add(gdstk.Label('A', (1.035,1.057), layer=68, texttype=20))
sky130_fd_sc_hd__and2b_1.add(gdstk.Label('A', (1.092,0.99), layer=68, texttype=20))
sky130_fd_sc_hd__and2b_1.add(gdstk.Label('A', (1.035,1.192), layer=68, texttype=20))
sky130_fd_sc_hd__and2b_1.add(gdstk.Label('A', (1.035,0.515), layer=68, texttype=20))
sky130_fd_sc_hd__and2b_1.add(gdstk.Label('Y', (2.357,0.515), layer=68, texttype=20))
sky130_fd_sc_hd__and2b_1.add(gdstk.Label('A', (1.265,0.99), layer=68, texttype=20))
sky130_fd_sc_hd__and2b_1.add(gdstk.Label('A', (2.07,0.99), layer=68, texttype=20))
sky130_fd_sc_hd__and2b_1.add(gdstk.Label('A_N', (0.69,1.597), layer=68, texttype=20))
sky130_fd_sc_hd__and2b_1.add(gdstk.Label('Y', (1.725,0.515), layer=68, texttype=20))
sky130_fd_sc_hd__and2b_1.add(gdstk.Label('A', (1.035,1.597), layer=68, texttype=20))
sky130_fd_sc_hd__and2b_1.add(gdstk.Label('VGND', (2.415,0), layer=68, texttype=20))
sky130_fd_sc_hd__and2b_1.add(gdstk.Label('A', (2.07,1.597), layer=68, texttype=20))
sky130_fd_sc_hd__and2b_1.add(gdstk.Label('VGND', (2.415,0), layer=68, texttype=20))
sky130_fd_sc_hd__and2b_1.add(gdstk.Label('Y', (1.782,0.515), layer=68, texttype=20))
sky130_fd_sc_hd__and2b_1.add(gdstk.Label('Y', (1.897,0.515), layer=68, texttype=20))
sky130_fd_sc_hd__and2b_1.add(gdstk.Label('A_N', (0.69,0.99), layer=68, texttype=20))
sky130_fd_sc_hd__and2b_1.add(gdstk.Label('Y', (2.012,0.515), layer=68, texttype=20))
sky130_fd_sc_hd__and2b_1.add(gdstk.Label('B', (2.76,1.192), layer=68, texttype=20))
sky130_fd_sc_hd__and2b_1.add(gdstk.Label('B', (2.76,1.327), layer=68, texttype=20))
sky130_fd_sc_hd__and2b_1.add(gdstk.Label('B', (2.76,1.462), layer=68, texttype=20))
sky130_fd_sc_hd__and2b_1.add(gdstk.Label('Y', (4.14,0.732), layer=68, texttype=20))
sky130_fd_sc_hd__and2b_1.add(gdstk.Label('Y', (4.14,0.8), layer=68, texttype=20))
sky130_fd_sc_hd__and2b_1.add(gdstk.Label('Y', (4.14,0.922), layer=68, texttype=20))
sky130_fd_sc_hd__and2b_1.add(gdstk.Label('Y', (4.14,1.057), layer=68, texttype=20))
sky130_fd_sc_hd__and2b_1.add(gdstk.Label('Y', (4.14,1.192), layer=68, texttype=20))
sky130_fd_sc_hd__and2b_1.add(gdstk.Label('Y', (4.14,1.327), layer=68, texttype=20))
sky130_fd_sc_hd__and2b_1.add(gdstk.Label('Y', (4.14,1.462), layer=68, texttype=20))
sky130_fd_sc_hd__and2b_1.add(gdstk.Label('Y', (2.587,0.515), layer=68, texttype=20))
sky130_fd_sc_hd__and2b_1.add(gdstk.Label('Y', (2.702,0.515), layer=68, texttype=20))
sky130_fd_sc_hd__and2b_1.add(gdstk.Label('Y', (2.817,0.515), layer=68, texttype=20))
sky130_fd_sc_hd__and2b_1.add(gdstk.Label('Y', (2.932,0.515), layer=68, texttype=20))
sky130_fd_sc_hd__and2b_1.add(gdstk.Label('Y', (3.047,0.515), layer=68, texttype=20))
sky130_fd_sc_hd__and2b_1.add(gdstk.Label('Y', (3.162,0.515), layer=68, texttype=20))
sky130_fd_sc_hd__and2b_1.add(gdstk.Label('Y', (3.277,0.515), layer=68, texttype=20))
sky130_fd_sc_hd__and2b_1.add(gdstk.Label('Y', (3.392,0.515), layer=68, texttype=20))
sky130_fd_sc_hd__and2b_1.add(gdstk.Label('Y', (3.507,0.515), layer=68, texttype=20))
sky130_fd_sc_hd__and2b_1.add(gdstk.Label('X', (3.68,1.057), layer=68, texttype=20))
sky130_fd_sc_hd__and2b_1.add(gdstk.Label('X', (3.68,1.192), layer=68, texttype=20))
sky130_fd_sc_hd__and2b_1.add(gdstk.Label('VGND', (3.105,0), layer=68, texttype=20))
sky130_fd_sc_hd__and2b_1.add(gdstk.Label('Y', (2.472,0.515), layer=68, texttype=20))
sky130_fd_sc_hd__and2b_1.add(gdstk.Label('X', (3.68,1.597), layer=68, texttype=20))
sky130_fd_sc_hd__and2b_1.add(gdstk.Label('Y', (4.14,1.597), layer=68, texttype=20))
sky130_fd_sc_hd__and2b_1.add(gdstk.Label('B', (2.76,1.597), layer=68, texttype=20))
sky130_fd_sc_hd__and2b_1.add(gdstk.Label('X', (3.68,1.327), layer=68, texttype=20))
sky130_fd_sc_hd__and2b_1.add(gdstk.Label('X', (3.68,1.462), layer=68, texttype=20))
sky130_fd_sc_hd__and2b_1.add(gdstk.Label('Y', (4.14,1.26), layer=68, texttype=20))
sky130_fd_sc_hd__and2b_1.add(gdstk.Label('Y', (3.622,0.515), layer=68, texttype=20))
sky130_fd_sc_hd__and2b_1.add(gdstk.Label('Y', (3.737,0.515), layer=68, texttype=20))
sky130_fd_sc_hd__and2b_1.add(gdstk.Label('Y', (3.852,0.515), layer=68, texttype=20))
sky130_fd_sc_hd__and2b_1.add(gdstk.Label('X', (3.68,0.99), layer=68, texttype=20))
sky130_fd_sc_hd__and2b_1.add(gdstk.Label('Y', (3.967,0.515), layer=68, texttype=20))
sky130_fd_sc_hd__and2b_1.add(gdstk.Label('Y', (4.082,0.515), layer=68, texttype=20))
sky130_fd_sc_hd__and2b_1.add(gdstk.Label('B', (2.76,0.99), layer=68, texttype=20))
sky130_fd_sc_hd__and2b_1.add(gdstk.Label('Y', (4.14,0.55), layer=68, texttype=20))
sky130_fd_sc_hd__and2b_1.add(gdstk.Label('Y', (4.14,0.652), layer=68, texttype=20))
sky130_fd_sc_hd__and2b_1.add(gdstk.Label('B', (2.76,1.057), layer=68, texttype=20))
sky130_fd_sc_hd__and2b_1.add(gdstk.Label('VGND', (2.415,0), layer=68, texttype=5))
sky130_fd_sc_hd__and2b_1.add(gdstk.Label('VPWR', (2.415,3.33), layer=68, texttype=5))

lib.write_gds('sky130_fd_sc_hd__and2b_1.gds')
